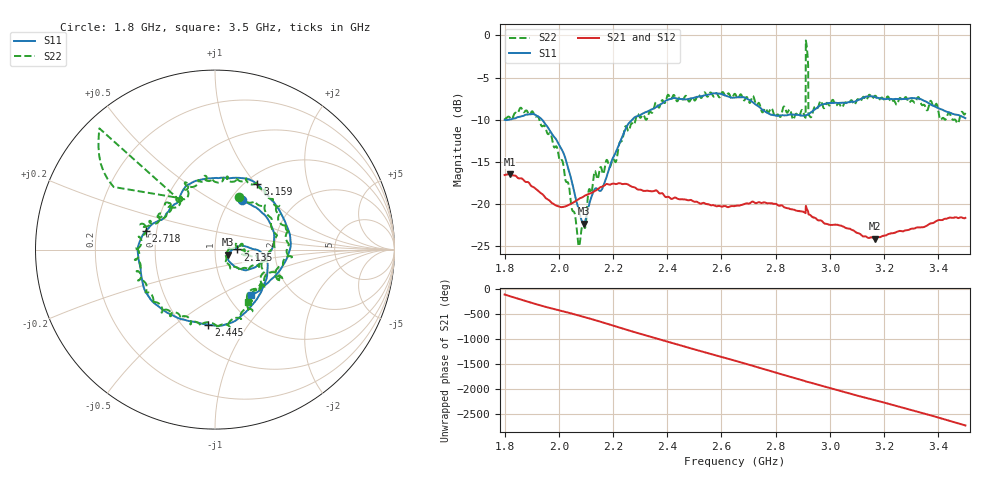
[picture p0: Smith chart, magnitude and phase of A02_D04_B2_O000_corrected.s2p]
! Created with skrf 1.9.0 (http://scikit-rf.org).
# Hz S RI R 50.0
!freq ReS11 ImS11 ReS21 ImS21 ReS12 ImS12 ReS22 ImS22
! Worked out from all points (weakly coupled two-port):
!   1601 points, 1.8 GHz to 3.5 GHz, reference 50 ohm
!   highest |S21| = -16.44 dB at 1.818 GHz (marker M1); lowest = -24.1 dB at 3.165 GHz (marker M2)
!   lowest |S11| = -22.3 dB at 2.091 GHz (marker M3), VSWR 1.17, Z = 57.6 - j3.24 ohm
!   |S11| at or under -10 dB: start of sweep to 1.815 GHz; 1.938 GHz to 2.271 GHz (332.3 MHz wide, 15.8 % of centre)
!   |S22| runs from -25.0 to -0.6 dB; largest |S21 - S12| = 0.0025
!   S11 on the Smith chart (normalised r, x): 1.8 GHz: 1.12, +0.70; 2.135 GHz: 1.28, +0.00; 2.445 GHz: 0.66, -0.67; 2.718 GHz: 0.44, +0.11; 3.159 GHz: 1.13, +1.02; 3.5 GHz: 1.28, -0.72
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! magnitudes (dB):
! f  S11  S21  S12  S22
! 1.8 GHz  -10.0  -16.5  -16.5  -9.8
! 1.818 GHz  -10.0  -16.4  -16.5  -9.7
! 1.968 GHz  -11.3  -19.7  -19.7  -11.6
! 2.015 GHz  -13.8  -20.3  -20.3  -15.0
! 2.072 GHz  -20.5  -19.4  -19.4  -24.8
! 2.084 GHz  -21.9  -19.2  -19.2  -23.0
! 2.091 GHz  -22.3  -19.1  -19.1  -22.4
! 2.135 GHz  -18.1  -18.4  -18.4  -16.1
! 2.258 GHz  -10.4  -17.7  -17.7  -11.3
! 2.367 GHz  -8.3  -18.6  -18.5  -8.5
! 2.445 GHz  -7.5  -19.4  -19.4  -7.3
! 2.65 GHz  -7.4  -20.2  -20.2  -6.9
! 2.718 GHz  -8.0  -19.7  -19.6  -7.2
! 2.868 GHz  -9.4  -20.7  -20.7  -9.8
! 2.902 GHz  -9.5  -20.9  -20.9  -9.1
! 2.911 GHz  -9.5  -20.2  -20.2  -0.6
! 2.92 GHz  -9.4  -20.9  -20.8  -3.6
! 2.934 GHz  -9.0  -21.5  -21.4  -9.5
! 3.159 GHz  -7.2  -24.0  -23.9  -7.4
! 3.165 GHz  -7.3  -24.1  -24.0  -7.2
! 3.217 GHz  -7.5  -23.5  -23.5  -7.4
! 3.5 GHz  -9.8  -21.6  -21.6  -9.2
